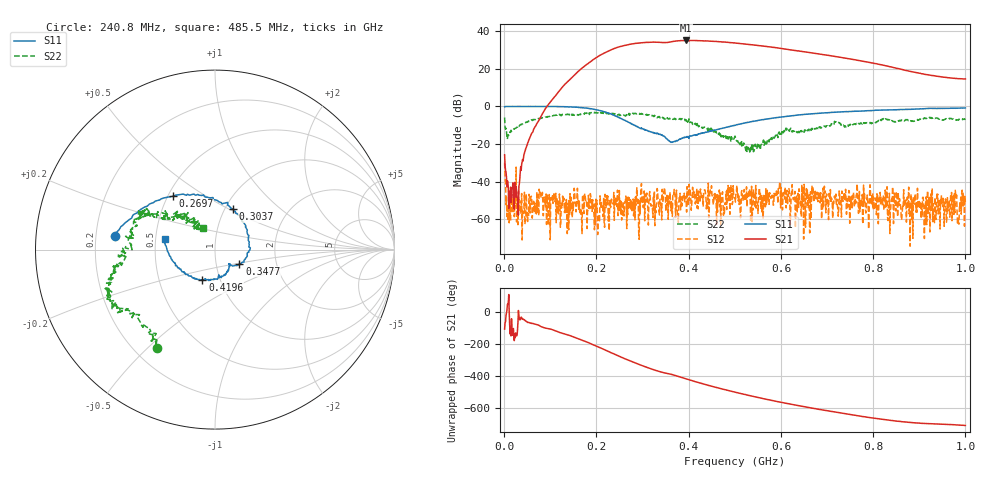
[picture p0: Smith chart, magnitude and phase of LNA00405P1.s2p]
! Created with skrf 1.9.0 (http://scikit-rf.org).
# Hz S RI R 50.0
!freq ReS11 ImS11 ReS21 ImS21 ReS12 ImS12 ReS22 ImS22
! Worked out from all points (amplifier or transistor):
!   1001 points, 1 MHz to 1 GHz, reference 50 ohm
!   highest |S21| = 35.1 dB at 394.6 MHz (marker M1)
!   |S21| within 3 dB of that: 255.4 MHz to 561.3 MHz (305.9 MHz wide, 74.9 % of centre) (the widest 1 of 2)
!   unconditionally stable (mu >= 1): 190 MHz to 218.7 MHz; 249.8 MHz to 287.5 MHz; 297.7 MHz to end of sweep (the widest 3 of 45)
!   at 166.8 MHz: K = 2.78, MAG = 30.2 dB, |S12| = -55.1 dB
!   at 500.5 MHz: K = 2.58, MAG = 34.4 dB, |S12| = -48.8 dB
!   at 1 GHz: K = 4.37, MAG = 23.5 dB, |S12| = -51.1 dB
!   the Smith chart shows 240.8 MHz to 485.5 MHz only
!   S11 on the Smith chart (normalised r, x): 240.8 MHz: 0.28, +0.06; 269.7 MHz: 0.53, +0.37; 303.7 MHz: 1.09, +0.53; 347.7 MHz: 1.30, -0.21; 419.6 MHz: 0.82, -0.29; 485.5 MHz: 0.56, +0.07
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1000000  0.9767 -0.000825  -0.0171 -0.0492  -0.0318 -0.00266  0.3386 0.3792
1.09891e8  0.5229 -0.849  -0.8812 -1.617  -0.00282 0.00097  0.4431 -0.3721
1.67833e8  -0.2073 -0.9085  -10.23 -0.5994  -0.000648 0.00113  0.0507 -0.6374
2.08792e8  -0.6428 -0.4324  -16.14 16.79  -0.00196 0.00217  -0.205 -0.6588
2.4076e8  -0.5573 0.0733  -1.774 35.32  0.000456 -0.00296  -0.3226 -0.5478
2.69731e8  -0.2351 0.2974  24.07 36.78  -0.000215 -0.0018  -0.4901 -0.3358
3.03697e8  0.0991 0.2273  47.37 15.65  -0.00534 0.00197  -0.5933 -0.1872
3.34666e8  0.1884 -0.0148  49.77 -10.58  -0.000755 0.00272  -0.5153 -0.032
3.47653e8  0.1364 -0.0784  46.44 -18.53  -0.007 0.000678  -0.4725 0.0354
3.71629e8  0.0796 -0.0859  42.67 -34.11  -0.000928 -0.000619  -0.4121 0.1775
3.94606e8  0.0422 -0.1485  28.83 -48.92  0.000317 0.00298  -0.394 0.1968
4.19581e8  -0.0699 -0.1684  9.191 -55.5  0.00447 0.00251  -0.2622 0.1747
4.5055e8  -0.1989 -0.1033  -14.34 -52.56  0.00405 0.00178  -0.1594 0.1884
4.85515e8  -0.2798 0.0571  -33.2 -38  0.0077 -0.00186  -0.0659 0.1191
5.005e8  -0.2859 0.1305  -38.5 -30.2  -0.00355 0.000699  -0.1073 0.1235
5.4046e8  -0.219 0.3362  -42.19 -8.611  0.0036 -0.00519  -0.0615 0.0129
5.88412e8  -0.0236 0.5005  -34.66 11.53  -0.000451 -0.00405  -0.1449 -0.093
6.28372e8  0.1643 0.5537  -23.63 20.08  0.00349 -0.000889  -0.1987 -0.1025
6.67333e8  0.3505 0.5368  -12.65 23.12  -0.00142 -0.00778  -0.2531 -0.0726
7.53247e8  0.6455 0.3578  3.901 17.56  -0.00403 -0.000964  -0.3274 0.029
8.34166e8  0.7999 0.1299  8.343 8.033  0.00119 -0.00161  -0.4311 0.1167
1e9  0.8155 -0.4107  5.291 1.005  -0.00268 0.000726  -0.166 0.4358
